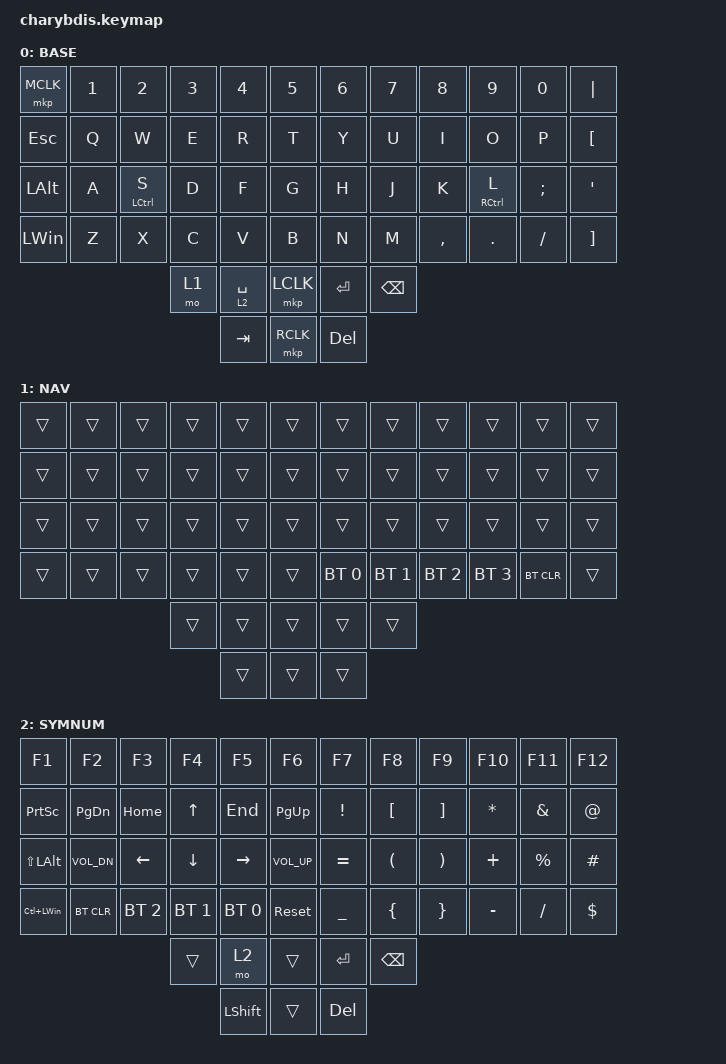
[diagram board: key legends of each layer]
#include <dt-bindings/zmk/mouse.h>
#include <behaviors.dtsi>
#include <dt-bindings/zmk/bt.h>
#include <dt-bindings/zmk/keys.h>

/ {
    combos {
        compatible = "zmk,combos";

        langchange {
            bindings = <&kp LG(SPACE)>;
            key-positions = <17 18>;
        };
    };

    behaviors {
        homerow: homerow {
            compatible = "zmk,behavior-hold-tap";
            label = "HOMEROW";
            bindings = <&kp>, <&kp>;

            #binding-cells = <2>;
            tapping-term-ms = <175>;
            quick-tap-ms = <0>;
            flavor = "tap-preferred";
        };
    };

    keymap {
        compatible = "zmk,keymap";

        BASE {
            bindings = <
&mkp MCLK     &kp N1  &kp N2                   &kp N3  &kp N4       &kp N5       &kp N6   &kp N7    &kp N8     &kp N9            &kp N0    &kp PIPE
&kp ESC       &kp Q   &kp W                    &kp E   &kp R        &kp T        &kp Y    &kp U     &kp I      &kp O             &kp P     &kp LBKT
&kp LEFT_ALT  &kp A   &homerow LEFT_CONTROL S  &kp D   &kp F        &kp G        &kp H    &kp J     &kp K      &homerow RCTRL L  &kp SEMI  &kp SQT
&kp LEFT_WIN  &kp Z   &kp X                    &kp C   &kp V        &kp B        &kp N    &kp M     &kp COMMA  &kp DOT           &kp FSLH  &kp RIGHT_BRACKET
                                               &mo 1   &lt 2 SPACE  &mkp LCLK    &kp RET  &kp BSPC
                                                       &kp TAB      &mkp RCLK    &kp DEL
            >;
        };

                NAV {
            bindings = <
&trans  &trans             &trans          &trans          &trans          &trans             &trans        &trans        &trans        &trans        &trans        &trans
&trans  &trans             &trans          &trans &trans          &trans             &trans        &trans        &trans        &trans        &trans        &trans
&trans  &trans             &trans &trans  &trans &trans             &trans        &trans        &trans        &trans        &trans        &trans
&trans  &trans             &trans          &trans          &trans          &trans             &bt BT_SEL 0  &bt BT_SEL 1  &bt BT_SEL 2  &bt BT_SEL 3  &bt BT_CLR    &trans
                        &trans            &trans           &trans          &trans              &trans
                                         &trans           &trans           &trans
            >;
        };


        SYMNUM {
            bindings = <
&kp F1            &kp F2         &kp F3          &kp F4          &kp F5           &kp F6             &kp F7           &kp F8                &kp F9                 &kp F10       &kp F11        &kp F12
&kp PRINTSCREEN   &kp PAGE_DOWN  &kp HOME        &kp UP_ARROW    &kp END          &kp PAGE_UP        &kp EXCLAMATION  &kp LEFT_BRACKET      &kp RIGHT_BRACKET      &kp ASTERISK  &kp AMPERSAND  &kp AT
&kp LS(LEFT_ALT)  &kp C_VOL_DN   &kp LEFT_ARROW  &kp DOWN_ARROW  &kp RIGHT_ARROW  &kp C_VOLUME_UP    &kp EQUAL        &kp LEFT_PARENTHESIS  &kp RIGHT_PARENTHESIS  &kp PLUS      &kp PERCENT    &kp HASH
&kp LC(LEFT_WIN)  &bt BT_CLR     &bt BT_SEL 2    &bt BT_SEL 1    &bt BT_SEL 0     &sys_reset         &kp UNDERSCORE   &kp LEFT_BRACE        &kp RIGHT_BRACE        &kp MINUS     &kp SLASH      &kp DOLLAR
                                                 &trans          &mo 2            &trans             &kp ENTER        &kp BSPC
                                                                 &kp LEFT_SHIFT   &trans             &kp DEL
            >;
        };
    };
};
